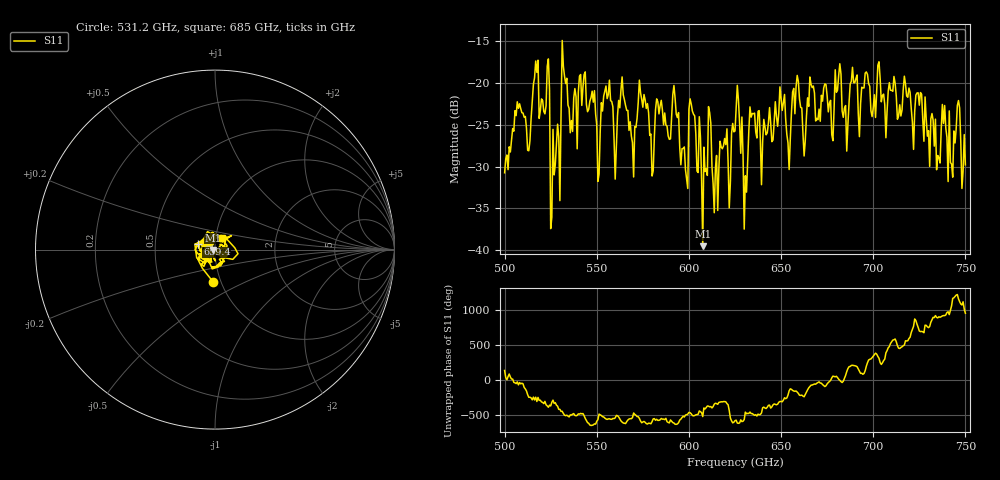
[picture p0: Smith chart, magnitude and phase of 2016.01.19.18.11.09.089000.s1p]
!Created with skrf (http://scikit-rf.org).
# GHz S RI R 50.0
!freq ReS11 ImS11
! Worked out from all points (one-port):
!   401 points, 500 GHz to 750 GHz, reference 50 ohm
!   lowest |S11| = -39.5 dB at 607.5 GHz (marker M1), VSWR 1.02, Z = 49 - j0.211 ohm
!   |S11| at or under -10 dB: start of sweep to end of sweep
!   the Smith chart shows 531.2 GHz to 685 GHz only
!   S11 on the Smith chart (normalised r, x): 531.2 GHz: 0.92, -0.34; 659.4 GHz: 0.82, +0.05; 685 GHz: 1.07, +0.14
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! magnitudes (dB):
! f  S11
! 500 GHz  -30.7
! 506.9 GHz  -22.3
! 513.1 GHz  -28.1
! 516.9 GHz  -17.4
! 523.1 GHz  -18.0
! 526.2 GHz  -25.6
! 531.2 GHz  -14.9
! 542.5 GHz  -20.5
! 550.6 GHz  -31.8
! 562.5 GHz  -23.0
! 570 GHz  -31.2
! 574.4 GHz  -21.9
! 580 GHz  -31.1
! 593.8 GHz  -24.1
! 598.1 GHz  -30.4
! 601.9 GHz  -23.4
! 607.5 GHz  -39.5
! 625 GHz  -25.7
! 630.6 GHz  -31.1
! 634.4 GHz  -23.6
! 656.2 GHz  -21.1
! 659.4 GHz  -19.8
! 662.5 GHz  -28.7
! 680.6 GHz  -20.9
! 685 GHz  -22.7
! 687.5 GHz  -20.1
! 718.8 GHz  -21.7
! 750 GHz  -29.8
